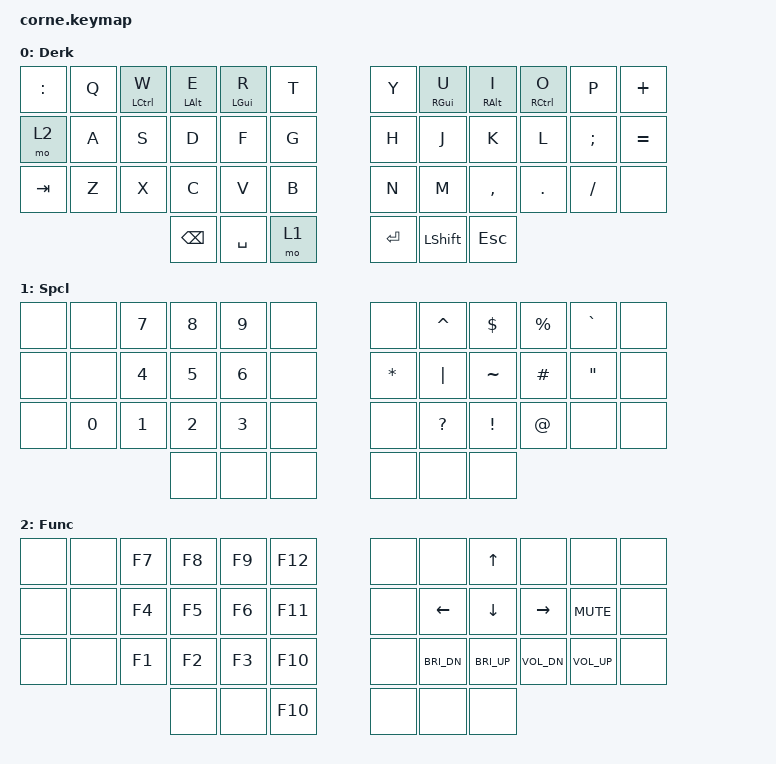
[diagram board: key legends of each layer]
/*
 * Copyright (c) 2020 The ZMK Contributors
 *
 * SPDX-License-Identifier: MIT
 */

#include <behaviors.dtsi>
#include <dt-bindings/zmk/bt.h>
#include <dt-bindings/zmk/keys.h>
#include <dt-bindings/zmk/rgb.h>
#include <dt-bindings/zmk/ext_power.h>
/ {
    behaviors {
       
      // Left hand home row mods
        hm_l_ctrl: hm_l_ctrl {
            compatible = "zmk,behavior-hold-tap";
            #binding-cells = <2>;
            flavor = "tap-preferred";
            tapping-term-ms = <280>;
            quick-tap-ms = <70>;
            require-prior-idle-ms = <100>;
            bindings = <&kp>, <&kp>;
            // Position 13 (left ctrl) triggers with: other left mods + entire right hand
            hold-trigger-key-positions = <2 3 4 6 7 8 9 10 11 18 19 20 21 22 23 30 31 32 33 34 35 39 40 41>;
            hold-trigger-on-release;
        };
        
        hm_l_opt: hm_l_opt {
            compatible = "zmk,behavior-hold-tap";
            #binding-cells = <2>;
            flavor = "tap-preferred";
            tapping-term-ms = <280>;
            quick-tap-ms = <70>;
            require-prior-idle-ms = <100>;
            bindings = <&kp>, <&kp>;
            // Position 14 (left option) triggers with: other left mods + entire right hand
            hold-trigger-key-positions = <2 3 4 6 7 8 9 10 11 18 19 20 21 22 23 30 31 32 33 34 35 39 40 41>;
            hold-trigger-on-release;
        };
        
        hm_l_cmd: hm_l_cmd {
            compatible = "zmk,behavior-hold-tap";
            #binding-cells = <2>;
            flavor = "tap-preferred";
            tapping-term-ms = <280>;
            quick-tap-ms = <70>;
            require-prior-idle-ms = <100>;
            bindings = <&kp>, <&kp>;
            // Position 16 (left command) triggers with: other left mods + entire right hand
            hold-trigger-key-positions = <2 3 4 6 7 8 9 10 11 18 19 20 21 22 23 30 31 32 33 34 35 39 40 41>;
            hold-trigger-on-release;
        };
        
        // Right hand home row mods (mirrored)
        hm_r_cmd: hm_r_cmd {
            compatible = "zmk,behavior-hold-tap";
            #binding-cells = <2>;
            flavor = "tap-preferred";
            tapping-term-ms = <280>;
            quick-tap-ms = <70>;
            require-prior-idle-ms = <100>;
            bindings = <&kp>, <&kp>;
            // Position 19 (right command) triggers with: other right mods + entire left hand
            hold-trigger-key-positions = <7 8 9 0 1 2 3 4 5 12 13 14 15 16 17 24 25 26 27 28 29 36 37 38>;
            hold-trigger-on-release;
        };
        
        hm_r_opt: hm_r_opt {
            compatible = "zmk,behavior-hold-tap";
            #binding-cells = <2>;
            flavor = "tap-preferred";
            tapping-term-ms = <280>;
            quick-tap-ms = <70>;
            require-prior-idle-ms = <100>;
            bindings = <&kp>, <&kp>;
            // Position 21 (right option) triggers with: other right mods + entire left hand
            hold-trigger-key-positions = <7 8 9 0 1 2 3 4 5 12 13 14 15 16 17 24 25 26 27 28 29 36 37 38>;
            hold-trigger-on-release;
        };
        
        hm_r_ctrl: hm_r_ctrl {
            compatible = "zmk,behavior-hold-tap";
            #binding-cells = <2>;
            flavor = "tap-preferred";
            tapping-term-ms = <280>;
            quick-tap-ms = <70>;
            require-prior-idle-ms = <100>;
            bindings = <&kp>, <&kp>;
            // Position 22 (right ctrl) triggers with: other right mods + entire left hand
            hold-trigger-key-positions = <7 8 9 0 1 2 3 4 5 12 13 14 15 16 17 24 25 26 27 28 29 36 37 38>;
            hold-trigger-on-release;
        };
    };

    combos {
        compatible = "zmk,combos";

        left_bkt {
            bindings = <&kp LEFT_BRACKET>;
            key-positions = <27 28>;
            timeout-ms = <25>;
        };

        right_bkt {
            bindings = <&kp RIGHT_BRACKET>;
            key-positions = <31 32>;
            timeout-ms = <25>;
        };

        left_par {
            bindings = <&kp LEFT_PARENTHESIS>;
            key-positions = <15 16>;
            timeout-ms = <25>;
        };

        right_par {
            bindings = <&kp RIGHT_PARENTHESIS>;
            key-positions = <19 20>;
            timeout-ms = <25>;
        };

        left_brace {
            bindings = <&kp LEFT_BRACE>;
            key-positions = <3 4>;
            timeout-ms = <25>;
        };

        right_brace {
            bindings = <&kp RIGHT_BRACE>;
            key-positions = <7 8>;
            timeout-ms = <25>;
        };

        less_than {
            bindings = <&kp LESS_THAN>;
            key-positions = <25 26>;
            timeout-ms = <25>;
        };

        greater_than {
            bindings = <&kp GREATER_THAN>;
            key-positions = <33 34>;
            timeout-ms = <25>;
        };

        underscore {
            bindings = <&kp UNDERSCORE>;
            key-positions = <21 22>;
            timeout-ms = <25>;
        };

        ampersand {
            bindings = <&kp AMPERSAND>;
            key-positions = <13 14>;
            timeout-ms = <25>;
        };

        single_quote {
            bindings = <&kp SINGLE_QUOTE>;
            key-positions = <1 2>;
            timeout-ms = <25>;
        };

        minus {
            bindings = <&kp MINUS>;
            key-positions = <9 10>;
            timeout-ms = <25>;
        };
    };

keymap {
    compatible = "zmk,keymap";

    default_layer {
        display-name = "Derk";
        bindings = <
          &kp COLON              &kp Q                  &hm_l_ctrl LCTRL W     &hm_l_opt LALT E       &hm_l_cmd LGUI R       &kp T                  &kp Y                  &hm_r_ctrl RGUI U      &hm_r_opt RALT I       &hm_r_ctrl RCTRL O     &kp P                  &kp PLUS
          &mo 2                  &kp A                  &kp S                  &kp D                  &kp F                  &kp G                  &kp H                  &kp J                  &kp K                  &kp L                  &kp SEMI               &kp EQUAL
          &kp TAB                &kp Z                  &kp X                  &kp C                  &kp V                  &kp B                  &kp N                  &kp M                  &kp COMMA              &kp DOT                &kp SLASH              &none
                                                                               &kp BSPC               &kp SPACE              &mo 1                  &kp ENTER              &kp LSHIFT             &kp ESC
        >;
    };

    special_layer {
        display-name = "Spcl";
        bindings = <
          &none                  &none                  &kp N7                 &kp N8                 &kp N9                 &none                  &none                  &kp CARET              &kp DOLLAR             &kp PERCENT            &kp GRAVE              &none
          &none                  &none                  &kp N4                 &kp N5                 &kp N6                 &none                  &kp ASTERISK           &kp PIPE               &kp TILDE              &kp HASH               &kp DQT                &none
          &none                  &kp N0                 &kp N1                 &kp N2                 &kp N3                 &none                  &none                  &kp QMARK              &kp EXCL               &kp AT_SIGN            &none                  &none
                                                                               &none                  &none                  &none                  &none                  &none                  &none
        >;
    };

    fn_layer {
        display-name = "Func";
        bindings = <
          &none                  &none                  &kp F7                 &kp F8                 &kp F9                 &kp F12                &none                  &none                  &kp UP_ARROW           &none                  &none                  &none
          &none                  &none                  &kp F4                 &kp F5                 &kp F6                 &kp F11                &none                  &kp LEFT_ARROW         &kp DOWN_ARROW         &kp RIGHT_ARROW        &kp K_MUTE             &none
          &none                  &none                  &kp F1                 &kp F2                 &kp F3                 &kp F10                &none                  &kp C_BRI_DN           &kp C_BRI_UP           &kp C_VOL_DN           &kp C_VOL_UP           &none
                                                                               &none                  &none                  &kp F10                &none                  &none                  &none
        >;
    };


    extra1 {
        status = "reserved";
    };
    extra2 {
        status = "reserved";
    };
    extra3 {
        status = "reserved";
    };
    extra4 {
        status = "reserved";
    };
};
};
